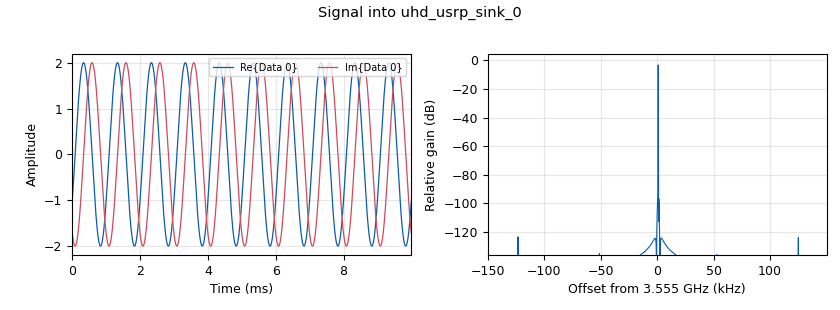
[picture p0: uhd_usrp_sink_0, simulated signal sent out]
options:
  parameters:
    author: jasv22
    generate_options: qt_gui
    id: testTX
    output_language: python
    title: Not titled yet
  states: {}

blocks:
- name: freq
  id: variable
  parameters:
    value: '3555000000'
  states: {}
- name: gain
  id: variable_qtgui_range
  parameters:
    orient: Qt.Horizontal
    start: '0'
    step: '1'
    stop: '89'
    value: '31'
  states: {}
- name: samp_rate
  id: variable
  parameters:
    value: 300e3
  states: {}
- name: analog_sig_source_x_0
  id: analog_sig_source_x
  parameters:
    amp: '2'
    freq: '1000'
    offset: '0'
    phase: '0'
    samp_rate: samp_rate
    type: complex
    waveform: analog.GR_SIN_WAVE
  states: {}
- name: uhd_usrp_sink_0
  id: uhd_usrp_sink
  parameters:
    ant0: TX/RX
    center_freq0: freq
    clock_rate: 30.72e6
    dev_args: '""'
    gain0: gain
    len_tag_name: ''
    norm_gain0: 'False'
    samp_rate: samp_rate
    sync: sync
    type: fc32
  states: {}

connections:
- [analog_sig_source_x_0, '0', uhd_usrp_sink_0, '0']

metadata:
  file_format: 1
